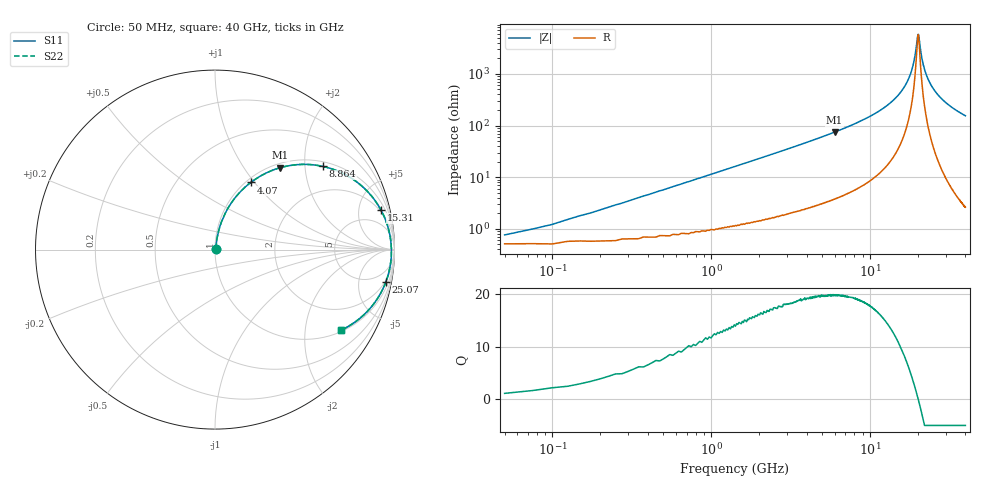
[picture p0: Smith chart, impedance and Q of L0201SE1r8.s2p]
# MHZ S MA R 50
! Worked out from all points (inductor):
!   1601 points, 50 MHz to 40 GHz, reference 50 ohm
!   read as one part in series: L = 1.8 nH near 249.8 MHz
!   highest Q = 19.8 at 5.993 GHz (marker M1), where L = 1.97 nH
!   self-resonance near 20.17 GHz
!   S11 on the Smith chart (normalised r, x): 50 MHz: 1.01, +0.01; 4.07 GHz: 1.05, +0.96; 8.864 GHz: 1.13, +2.48; 15.31 GHz: 1.79, +8.09; 25.07 GHz: 2, -10; 40 GHz: 1.05, -3.09
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50  0.00766 46.9  0.995 -0.3  0.995 -0.3  0.00766 46.9
324.656  0.037 77.9  0.993 -2.1  0.993 -2.1  0.037 77.9
474.469  0.054 79.4  0.991 -3.1  0.991 -3.1  0.054 79.4
1098.688  0.123 78.4  0.983 -7.0  0.983 -7.0  0.123 78.4
2272.219  0.249 72.2  0.954 -14.4  0.954 -14.4  0.249 72.2
4069.969  0.424 61.9  0.884 -25.1  0.884 -25.1  0.424 61.9
5992.563  0.583 51.5  0.784 -35.6  0.784 -35.6  0.583 51.5
6716.656  0.634 47.8  0.742 -39.3  0.742 -39.3  0.634 47.8
8863.969  0.76 37.6  0.611 -49.3  0.611 -49.3  0.76 37.6
13383.31  0.916 19.8  0.339 -66.0  0.339 -66.0  0.916 19.8
15305.91  0.95 13.4  0.234 -71.1  0.234 -71.1  0.95 13.4
16978.81  0.969 8.4  0.148 -73.7  0.148 -73.7  0.969 8.4
18277.19  0.977 4.9  0.087 -72.5  0.087 -72.5  0.977 4.9
19126.12  0.981 2.6  0.049 -65.8  0.049 -65.8  0.981 2.6
20025  0.983 0.4  0.018 -19.8  0.018 -19.8  0.983 0.4
20324.62  0.983 -0.4  0.018 20.2  0.018 20.2  0.983 -0.4
21248.47  0.983 -2.6  0.048 67.3  0.048 67.3  0.983 -2.6
22197.28  0.981 -4.7  0.084 74.5  0.084 74.5  0.981 -4.7
25068.69  0.969 -10.7  0.186 75.0  0.186 75.0  0.969 -10.7
26691.66  0.958 -13.8  0.238 73.1  0.238 73.1  0.958 -13.8
33358.31  0.9 -24.4  0.413 64.1  0.413 64.1  0.9 -24.4
40000  0.833 -32.6  0.539 56.4  0.539 56.4  0.833 -32.6
